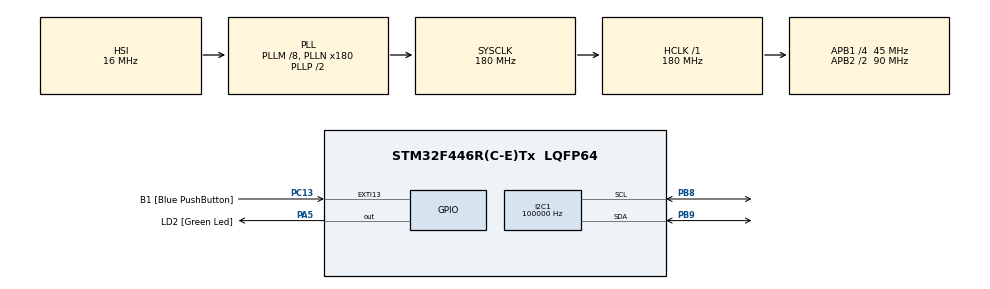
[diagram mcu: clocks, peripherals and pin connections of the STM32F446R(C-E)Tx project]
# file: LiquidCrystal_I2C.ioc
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I2C1.ClockSpeed=100000
I2C1.I2C_Mode=I2C_Standard
Mcu.Family=STM32F4
Mcu.Name=STM32F446R(C-E)Tx
Mcu.Package=LQFP64
NVIC.PriorityGroup=NVIC_PRIORITYGROUP_0
PA13.GPIO_Label=TMS
PA13.Mode=Serial_Wire
PA13.Signal=SYS_JTMS-SWDIO
PA14.GPIO_Label=TCK
PA14.Mode=Serial_Wire
PA14.Signal=SYS_JTCK-SWCLK
PA2.GPIO_Label=USART_TX
PA2.Signal=USART2_TX
PA3.GPIO_Label=USART_RX
PA3.Signal=USART2_RX
PA5.GPIO_Label=LD2 [Green Led]
PA5.Signal=GPIO_Output
PB3.GPIO_Label=SWO
PB3.Signal=SYS_JTDO-SWO
PB8.Mode=I2C
PB8.Signal=I2C1_SCL
PB9.Mode=I2C
PB9.Signal=I2C1_SDA
PC13.GPIO_Label=B1 [Blue PushButton]
PC13.GPIO_ModeDefaultEXTI=GPIO_MODE_EVT_RISING
PC13.Signal=GPXTI13
PC14-OSC32_IN.Signal=RCC_OSC32_IN
PC15-OSC32_OUT.Signal=RCC_OSC32_OUT
PH0-OSC_IN.Signal=RCC_OSC_IN
PH1-OSC_OUT.Signal=RCC_OSC_OUT
ProjectManager.HeapSize=0x200
ProjectManager.StackSize=0x400
ProjectManager.TargetToolchain=SW4STM32
RCC.AHBFreq_Value=180000000
RCC.APB1CLKDivider=RCC_HCLK_DIV4
RCC.APB1Freq_Value=45000000
RCC.APB1TimFreq_Value=90000000
RCC.APB2CLKDivider=RCC_HCLK_DIV2
RCC.APB2Freq_Value=90000000
RCC.APB2TimFreq_Value=180000000
RCC.CortexFreq_Value=180000000
RCC.FLatency-AdvancedSettings=FLASH_LATENCY_5
RCC.HCLKFreq_Value=180000000
RCC.HSE_VALUE=8000000
RCC.HSI_VALUE=16000000
RCC.LSE_VALUE=32768
RCC.PLLM=8
RCC.PLLN=180
RCC.SYSCLKFreq_VALUE=180000000
RCC.SYSCLKSource=RCC_SYSCLKSOURCE_PLLCLK
RCC.USBFreq_Value=180000000
RCC.VCOOutputFreq_Value=360000000
board=NUCLEO-F446RE

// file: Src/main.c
/**
  ******************************************************************************
  * File Name          : main.c
  * Description        : Main program body
  ******************************************************************************
  *
  * COPYRIGHT(c) 2016 STMicroelectronics
  *
  * Redistribution and use in source and binary forms, with or without modification,
  * are permitted provided that the following conditions are met:
  *   1. Redistributions of source code must retain the above copyright notice,
  *      this list of conditions and the following disclaimer.
  *   2. Redistributions in binary form must reproduce the above copyright notice,
  *      this list of conditions and the following disclaimer in the documentation
  *      and/or other materials provided with the distribution.
  *   3. Neither the name of STMicroelectronics nor the names of its contributors
  *      may be used to endorse or promote products derived from this software
  *      without specific prior written permission.
  *
  * THIS SOFTWARE IS PROVIDED BY THE COPYRIGHT HOLDERS AND CONTRIBUTORS "AS IS"
  * AND ANY EXPRESS OR IMPLIED WARRANTIES, INCLUDING, BUT NOT LIMITED TO, THE
  * IMPLIED WARRANTIES OF MERCHANTABILITY AND FITNESS FOR A PARTICULAR PURPOSE ARE
  * DISCLAIMED. IN NO EVENT SHALL THE COPYRIGHT HOLDER OR CONTRIBUTORS BE LIABLE
  * FOR ANY DIRECT, INDIRECT, INCIDENTAL, SPECIAL, EXEMPLARY, OR CONSEQUENTIAL
  * DAMAGES (INCLUDING, BUT NOT LIMITED TO, PROCUREMENT OF SUBSTITUTE GOODS OR
  * SERVICES; LOSS OF USE, DATA, OR PROFITS; OR BUSINESS INTERRUPTION) HOWEVER
  * CAUSED AND ON ANY THEORY OF LIABILITY, WHETHER IN CONTRACT, STRICT LIABILITY,
  * OR TORT (INCLUDING NEGLIGENCE OR OTHERWISE) ARISING IN ANY WAY OUT OF THE USE
  * OF THIS SOFTWARE, EVEN IF ADVISED OF THE POSSIBILITY OF SUCH DAMAGE.
  *
  ******************************************************************************
  */
#include "stm32f4xx_hal.h"
#include "i2c.h"
#include "gpio.h"

/* USER CODE BEGIN Includes */
#include "LiquidCrystal_I2C.h"
/* USER CODE END Includes */

/* USER CODE BEGIN PV */
/* Private variables ---------------------------------------------------------*/

/* USER CODE END PV */

void SystemClock_Config(void);
void Error_Handler(void);

/* USER CODE BEGIN PFP */
/* Private function prototypes -----------------------------------------------*/

/* USER CODE END PFP */

int main(void)
{

  /* MCU Configuration----------------------------------------------------------*/

  /* Reset of all peripherals, Initializes the Flash interface and the Systick. */
  HAL_Init();

  /* Configure the system clock */
  SystemClock_Config();

  /* Initialize all configured peripherals */
  MX_GPIO_Init();
  MX_I2C1_Init();

  /* USER CODE BEGIN 2 */
  LiquidCrystal_I2C_Init(&hi2c1, 0x3f, 16, 2, LCD_5x8DOTS);
  LiquidCrystal_I2C_SetBacklight(1);
  LiquidCrystal_I2C_Cursor();
  LiquidCrystal_I2C_Blink();

  uint8_t fright[8] = {
			0x1F,//11111
			0x1E,//11110
			0x1F,//11111
			0x10,//10000
			0x10,//10000
			0x10,//10000
			0x10,//10000
			0x00
  };
  LiquidCrystal_I2C_CreateChar(0, fright);

  uint8_t fleft[8] = {
			0x1F,//11111
			0x0F,//01111
			0x1F,//11111
			0x01,//00001
			0x01,//00001
			0x01,//00001
			0x01,//00001
			0x00
  };
  LiquidCrystal_I2C_CreateChar(1, fleft);

  LiquidCrystal_I2C_SetCursor(6,1);
  LiquidCrystal_I2C_PrintString("*BOOM!*");
  LiquidCrystal_I2C_WriteSymbol(0);
  LiquidCrystal_I2C_WriteSymbolCustomDDRAM(0xC5, 1);
  LiquidCrystal_I2C_SetCursor(0,0);

  /* USER CODE END 2 */

  /* Infinite loop */
  /* USER CODE BEGIN WHILE */
  while (1)
  {
	  //LiquidCrystal_I2C_ScrollDisplayLeft();
	  //LiquidCrystal_I2C_Backlight();
	  HAL_Delay(300);
	  //LiquidCrystal_I2C_NoBacklight();
	  HAL_Delay(300);
  /* USER CODE END WHILE */

  }

}

/** System Clock Configuration
*/
void SystemClock_Config(void)
{

  RCC_OscInitTypeDef RCC_OscInitStruct;
  RCC_ClkInitTypeDef RCC_ClkInitStruct;

  __HAL_RCC_PWR_CLK_ENABLE();

  __HAL_PWR_VOLTAGESCALING_CONFIG(PWR_REGULATOR_VOLTAGE_SCALE1);

  RCC_OscInitStruct.OscillatorType = RCC_OSCILLATORTYPE_HSI;
  RCC_OscInitStruct.HSIState = RCC_HSI_ON;
  RCC_OscInitStruct.HSICalibrationValue = 16;
  RCC_OscInitStruct.PLL.PLLState = RCC_PLL_ON;
  RCC_OscInitStruct.PLL.PLLSource = RCC_PLLSOURCE_HSI;
  RCC_OscInitStruct.PLL.PLLM = 8;
  RCC_OscInitStruct.PLL.PLLN = 180;
  RCC_OscInitStruct.PLL.PLLP = RCC_PLLP_DIV2;
  RCC_OscInitStruct.PLL.PLLQ = 2;
  RCC_OscInitStruct.PLL.PLLR = 2;
  if (HAL_RCC_OscConfig(&RCC_OscInitStruct) != HAL_OK)
  {
    Error_Handler();
  }

  if (HAL_PWREx_EnableOverDrive() != HAL_OK)
  {
    Error_Handler();
  }

  RCC_ClkInitStruct.ClockType = RCC_CLOCKTYPE_HCLK|RCC_CLOCKTYPE_SYSCLK
                              |RCC_CLOCKTYPE_PCLK1|RCC_CLOCKTYPE_PCLK2;
  RCC_ClkInitStruct.SYSCLKSource = RCC_SYSCLKSOURCE_PLLCLK;
  RCC_ClkInitStruct.AHBCLKDivider = RCC_SYSCLK_DIV1;
  RCC_ClkInitStruct.APB1CLKDivider = RCC_HCLK_DIV4;
  RCC_ClkInitStruct.APB2CLKDivider = RCC_HCLK_DIV2;
  if (HAL_RCC_ClockConfig(&RCC_ClkInitStruct, FLASH_LATENCY_5) != HAL_OK)
  {
    Error_Handler();
  }

  HAL_SYSTICK_Config(HAL_RCC_GetHCLKFreq()/1000);

  HAL_SYSTICK_CLKSourceConfig(SYSTICK_CLKSOURCE_HCLK);

  /* SysTick_IRQn interrupt configuration */
  HAL_NVIC_SetPriority(SysTick_IRQn, 0, 0);
}

void Error_Handler(void)
{
  while(1)
  {
  }
}

/************************ (C) COPYRIGHT STMicroelectronics *****END OF FILE****/
